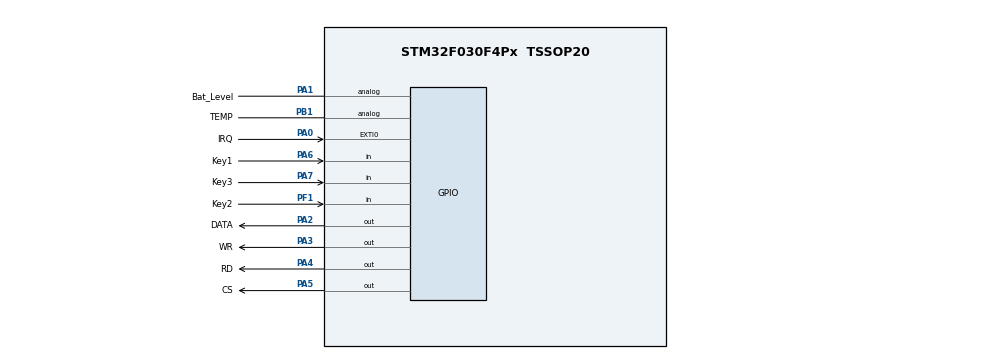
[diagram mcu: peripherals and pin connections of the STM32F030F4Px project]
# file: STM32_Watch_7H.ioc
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Mcu.Family=STM32F0
Mcu.Name=STM32F030F4Px
Mcu.Package=TSSOP20
NVIC.EXTI0_1_IRQn=true\:0\:0\:false\:false\:true\:true\:true\:true
NVIC.TIM1_BRK_UP_TRG_COM_IRQn=true\:0\:0\:false\:false\:true\:true\:true\:true
PA0.GPIO_Label=IRQ
PA0.GPIO_PuPd=GPIO_PULLUP
PA0.Signal=GPXTI0
PA1.GPIO_Label=Bat_Level
PA1.Signal=GPIO_Analog
PA10.Signal=I2C1_SDA
PA13.Mode=Serial_Wire
PA13.Signal=SYS_SWDIO
PA14.Mode=Serial_Wire
PA14.Signal=SYS_SWCLK
PA2.GPIO_Label=DATA
PA2.GPIO_PuPd=GPIO_NOPULL
PA2.Signal=GPIO_Output
PA3.GPIO_Label=WR
PA3.GPIO_PuPd=GPIO_NOPULL
PA3.Signal=GPIO_Output
PA4.GPIO_Label=RD
PA4.GPIO_PuPd=GPIO_NOPULL
PA4.Signal=GPIO_Output
PA5.GPIO_Label=CS
PA5.GPIO_PuPd=GPIO_NOPULL
PA5.Signal=GPIO_Output
PA6.GPIO_Label=Key1
PA6.GPIO_PuPd=GPIO_PULLUP
PA6.Signal=GPIO_Input
PA7.GPIO_Label=Key3
PA7.GPIO_PuPd=GPIO_PULLUP
PA7.Signal=GPIO_Input
PA9.Signal=I2C1_SCL
PB1.GPIO_Label=TEMP
PB1.Signal=GPIO_Analog
PF1-OSC_OUT.GPIO_Label=Key2
PF1-OSC_OUT.GPIO_PuPd=GPIO_PULLUP
PF1-OSC_OUT.Signal=GPIO_Input
ProjectManager.HeapSize=0x200
ProjectManager.StackSize=0x400
ProjectManager.TargetToolchain=STM32CubeIDE
RCC.AHBCLKDivider=RCC_SYSCLK_DIV2
RCC.AHBFreq_Value=4000000
RCC.APB1CLKDivider=RCC_HCLK_DIV16
RCC.APB1Freq_Value=250000
RCC.APB1TimFreq_Value=500000
RCC.HCLKFreq_Value=4000000
RCC.PLLMUL=RCC_PLL_MUL5
RCC.SYSCLKFreq_VALUE=8000000
TIM1.AutoReloadPreload=TIM_AUTORELOAD_PRELOAD_ENABLE
TIM1.Period=9
TIM1.Prescaler=500
TIM1.TIM_MasterOutputTrigger=TIM_TRGO_UPDATE
VP_TIM1_VS_ClockSourceINT.Mode=Internal
board=custom

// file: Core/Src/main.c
/* USER CODE BEGIN Header */
/**
  ******************************************************************************
  * @file           : main.c
  * @brief          : Main program body
  ******************************************************************************
  * @attention
  *
  * <h2><center>&copy; Copyright (c) 2022 STMicroelectronics.
  * All rights reserved.</center></h2>
  *
  * This software component is licensed by ST under BSD 3-Clause license,
  * the "License"; You may not use this file except in compliance with the
  * License. You may obtain a copy of the License at:
  *                        opensource.org/licenses/BSD-3-Clause
  *
  ******************************************************************************
  */
/* USER CODE END Header */
#include "main.h"

/* USER CODE BEGIN Includes */
#include "display.h"
#include "global_vars.h"

//#define PCB_Rev_V1

/* USER CODE END Includes */

TIM_HandleTypeDef htim1;

void SystemClock_Config(void);
static void MX_GPIO_Init(void);
static void MX_TIM1_Init(void);
/* USER CODE BEGIN PFP */
static void Beep_Enable(int8_t duration);
static void Beep_Disable(void);
static void Time_Calculation(void);
static void Beep_Routine(void);
static void Keyboard_Routine(void);
static void Input_data(int8_t position);
/* USER CODE END PFP */

int main(void)
{

  /* MCU Configuration--------------------------------------------------------*/

  /* Reset of all peripherals, Initializes the Flash interface and the Systick. */
  HAL_Init();

  /* Configure the system clock */
  SystemClock_Config();

  /* USER CODE BEGIN SysInit */
  /* Stop SysTick & disable interrupt */
  SysTick->CTRL &= ~(SysTick_CTRL_ENABLE_Msk | SysTick_CTRL_TICKINT_Msk);
  /* USER CODE END SysInit */

  /* Initialize all configured peripherals */
  MX_GPIO_Init();
  MX_TIM1_Init();
  /* USER CODE BEGIN 2 */

  Delay(3);
  Send_command(BIAS_COM);
  Send_command(SYS_DIS);
#ifndef PCB_Rev_V1
  Send_command(XTAL_32K);
#endif
  Send_command(TONE_2K);
  Send_command(FREQ_1HZ);
  Send_command(WDT_DIS);
  Send_command(TIMER_DIS);
  Send_command(CLR_TIMER);
  Send_command(TIMER_EN);
  Send_command(IRQ_EN);

  Send_command(SYS_EN);
  Send_command(LCD_ON);

  HAL_TIM_Base_Start_IT(&htim1);

//  Clear_display();
  Display_Upd(TIME_MODE);
  Beep_Enable(8);
  flags |= (1<<TIME_MODE);

  /* USER CODE END 2 */

  /* Infinite loop */
  /* USER CODE BEGIN WHILE */
  while (1)
  {
	Go_To_Sleep();
	if((flags & (1<<IRQ_FLAG)))
	{
		flags &=~(1<<IRQ_FLAG);
		Time_Calculation();
	}
	if (flags & (1<<BEEP_SYNC))
	{
		flags &=~(1<<BEEP_SYNC);
		if (flags & (1<<BEEP_MODE))
		{
			Beep_Routine();
		}
	}
	if (flags & (1<<KEYB))
	{
		Keyboard_Routine();
	}
	if (flags & (1<<TIME_MODE))
	{
		if (flags & (1<<HALF_SEC))
		{
			flags &=~(1<<HALF_SEC);
			Send_data(DDOT|MASK_B);		// DDOT is hide
		}
		else if (flags & (1<<ONE_SEC))
		{
			flags &=~(1<<ONE_SEC);
			Send_data(DDOT|MASK_A);		// it shows DDOT
		}
	} // blink DDOT
	else if (flags & (1<<SETUP_MODE))
	{
		if(!(flags & (1<<EDIT_TIME)))
		{
			setup_tmr = SETUP_TMR;
			flags |= (1<<EDIT_TIME);
			Input_data(HOUR_L);
			Send_data(DDOT|MASK_A);		// it shows DDOT
		}
		if (flags & (1<<HALF_SEC))
		{
			flags &=~(1<<HALF_SEC);
			Hide_segment();
		}
		if(flags & (1<<ONE_SEC))
		{
			Show_segment();
			flags &=~(1<<ONE_SEC);
			setup_tmr--;
			if(!setup_tmr)
			{
				flags |=(1<<TIME_MODE);
				flags &= ~(1<<SETUP_MODE);
				flags &= ~(1<<EDIT_TIME);
				Display_Upd(TIME_MODE);
			}
		}
	}	//SETUP MODE loop
  }   //endless loop
}     // main

    /* USER CODE END WHILE */

    /* USER CODE BEGIN 3 */

void HAL_TIM_PeriodElapsedCallback(TIM_HandleTypeDef *htim)
{
    if (htim->Instance == TIM1)
    {
    	system_time++;
    	interrupt_cnt++;
    	if(interrupt_cnt == SEC_CNT)
    	{
    		interrupt_cnt = 0;
    		flags |=(1<<ONE_SEC);
    	}
    	else if(interrupt_cnt == HALF_SEC_CNT)
    	{
    		flags |=(1<<HALF_SEC);
    	}
       	flags |=(1<<BEEP_SYNC);
       	kbd_scan =
		(!HAL_GPIO_ReadPin(GPIOA, GPIO_PIN_6) << KEY1) |
		(!HAL_GPIO_ReadPin(GPIOA, GPIO_PIN_7) << KEY2) |
	    (!HAL_GPIO_ReadPin(GPIOF, GPIO_PIN_1) << KEY3);
       	if (kbd_scan != 0)
       	{
       		if (!(flags & (1<<BEEP_MODE)))
       		{
           		Beep_Enable(3);
       		}
       		else
       		{
       			beep_duration++;
       		}
       		flags |=(1<<KEYB);
       	}
    }
};

void Go_To_Sleep(void)
{
//    HAL_SuspendTick();                     // Stop SysTick if not needed for wake-up
    SCB->SCR &= ~SCB_SCR_SLEEPDEEP_Msk;     // Select SLEEP mode (not deep sleep)
    __WFI();                                // Wait For Interrupt
//    HAL_ResumeTick();                       // Resume SysTick after wake-up
};

void Beep_Enable(int8_t duration)
{
	beep_duration = duration;
	Send_command(TONE_ON);
	flags |=(1<<BEEP_MODE);
};

void Beep_Disable(void)
{
	flags &=~(1<<BEEP_MODE);
	Send_command(TONE_OFF);
};

void Time_Calculation(void)
{
	second++;
	if (second == SECOND_LIMIT)
	{
		second = 0;
		minute++;
		if (minute == MINUTE_LIMIT)
		{
			minute = 0;
			hour++;
			if ((hour>=8) & (hour<22))
			{
				Beep_Enable(7);
			}
			if (hour == HOUR_LIMIT)
			{
				hour = 0;
			}
		}
		Display_Upd(TIME_MODE);
	}
	if (!(flags & (1<<SETUP_MODE)))		// do not switch to TEMP MODe if SETUP mode is active
	{
		if (second == 45)
		{
			Send_data(DDOT|MASK_B);		// Hide DOTS
			flags |=(1<<TEMP_MODE);
			flags &=~(1<<TIME_MODE);
			Display_Upd(TEMP_MODE);
		}
		else if (second == 55)
		{
			flags &=~(1<<TEMP_MODE);
			flags |=(1<<TIME_MODE);
			Display_Upd(TIME_MODE);
		}
	}
};

void Beep_Routine(void)
{
	beep_duration--;
	if(!beep_duration)
	{
		Beep_Disable();
	}
};

void Keyboard_Routine(void)
{
   	flags &=~(1<<KEYB);
   	flags |= (1<<SETUP_MODE);
	flags &=~(1<<TIME_MODE);
   	if(flags & (1<<TEMP_MODE))
   	{
		flags &=~(1<<TEMP_MODE);
		Display_Upd(TIME_MODE);
   	}
};

static void Input_data(int8_t position)
{
	input_position = position;
  /* USER CODE END 3 */
}

void SystemClock_Config(void)
{
  LL_FLASH_SetLatency(LL_FLASH_LATENCY_0);
  while(LL_FLASH_GetLatency() != LL_FLASH_LATENCY_0)
  {
  }
  LL_RCC_HSI_Enable();

   /* Wait till HSI is ready */
  while(LL_RCC_HSI_IsReady() != 1)
  {

  }
  LL_RCC_HSI_SetCalibTrimming(16);
  LL_RCC_SetAHBPrescaler(LL_RCC_SYSCLK_DIV_2);
  LL_RCC_SetAPB1Prescaler(LL_RCC_APB1_DIV_16);
  LL_RCC_SetSysClkSource(LL_RCC_SYS_CLKSOURCE_HSI);

   /* Wait till System clock is ready */
  while(LL_RCC_GetSysClkSource() != LL_RCC_SYS_CLKSOURCE_STATUS_HSI)
  {

  }
  LL_SetSystemCoreClock(4000000);

   /* Update the time base */
  if (HAL_InitTick (TICK_INT_PRIORITY) != HAL_OK)
  {
    Error_Handler();
  }
}

static void MX_TIM1_Init(void)
{

  TIM_ClockConfigTypeDef sClockSourceConfig = {0};
  TIM_MasterConfigTypeDef sMasterConfig = {0};

  htim1.Instance = TIM1;
  htim1.Init.Prescaler = 500;
  htim1.Init.CounterMode = TIM_COUNTERMODE_UP;
  htim1.Init.Period = 9;
  htim1.Init.ClockDivision = TIM_CLOCKDIVISION_DIV1;
  htim1.Init.RepetitionCounter = 0;
  htim1.Init.AutoReloadPreload = TIM_AUTORELOAD_PRELOAD_ENABLE;
  if (HAL_TIM_Base_Init(&htim1) != HAL_OK)
  {
    Error_Handler();
  }
  sClockSourceConfig.ClockSource = TIM_CLOCKSOURCE_INTERNAL;
  if (HAL_TIM_ConfigClockSource(&htim1, &sClockSourceConfig) != HAL_OK)
  {
    Error_Handler();
  }
  sMasterConfig.MasterOutputTrigger = TIM_TRGO_UPDATE;
  sMasterConfig.MasterSlaveMode = TIM_MASTERSLAVEMODE_DISABLE;
  if (HAL_TIMEx_MasterConfigSynchronization(&htim1, &sMasterConfig) != HAL_OK)
  {
    Error_Handler();
  }

}

static void MX_GPIO_Init(void)
{
  LL_EXTI_InitTypeDef EXTI_InitStruct = {0};
  LL_GPIO_InitTypeDef GPIO_InitStruct = {0};

  /* GPIO Ports Clock Enable */
  LL_AHB1_GRP1_EnableClock(LL_AHB1_GRP1_PERIPH_GPIOF);
  LL_AHB1_GRP1_EnableClock(LL_AHB1_GRP1_PERIPH_GPIOA);
  LL_AHB1_GRP1_EnableClock(LL_AHB1_GRP1_PERIPH_GPIOB);

  /**/
  LL_GPIO_ResetOutputPin(DATA_GPIO_Port, DATA_Pin);

  /**/
  LL_GPIO_ResetOutputPin(WR_GPIO_Port, WR_Pin);

  /**/
  LL_GPIO_ResetOutputPin(RD_GPIO_Port, RD_Pin);

  /**/
  LL_GPIO_ResetOutputPin(CS_GPIO_Port, CS_Pin);

  /**/
  GPIO_InitStruct.Pin = Key2_Pin;
  GPIO_InitStruct.Mode = LL_GPIO_MODE_INPUT;
  GPIO_InitStruct.Pull = LL_GPIO_PULL_UP;
  LL_GPIO_Init(Key2_GPIO_Port, &GPIO_InitStruct);

  /**/
  GPIO_InitStruct.Pin = Bat_Level_Pin;
  GPIO_InitStruct.Mode = LL_GPIO_MODE_ANALOG;
  GPIO_InitStruct.Pull = LL_GPIO_PULL_NO;
  LL_GPIO_Init(Bat_Level_GPIO_Port, &GPIO_InitStruct);

  /**/
  GPIO_InitStruct.Pin = DATA_Pin;
  GPIO_InitStruct.Mode = LL_GPIO_MODE_OUTPUT;
  GPIO_InitStruct.Speed = LL_GPIO_SPEED_FREQ_LOW;
  GPIO_InitStruct.OutputType = LL_GPIO_OUTPUT_PUSHPULL;
  GPIO_InitStruct.Pull = LL_GPIO_PULL_NO;
  LL_GPIO_Init(DATA_GPIO_Port, &GPIO_InitStruct);

  /**/
  GPIO_InitStruct.Pin = WR_Pin;
  GPIO_InitStruct.Mode = LL_GPIO_MODE_OUTPUT;
  GPIO_InitStruct.Speed = LL_GPIO_SPEED_FREQ_LOW;
  GPIO_InitStruct.OutputType = LL_GPIO_OUTPUT_PUSHPULL;
  GPIO_InitStruct.Pull = LL_GPIO_PULL_NO;
  LL_GPIO_Init(WR_GPIO_Port, &GPIO_InitStruct);

  /**/
  GPIO_InitStruct.Pin = RD_Pin;
  GPIO_InitStruct.Mode = LL_GPIO_MODE_OUTPUT;
  GPIO_InitStruct.Speed = LL_GPIO_SPEED_FREQ_LOW;
  GPIO_InitStruct.OutputType = LL_GPIO_OUTPUT_PUSHPULL;
  GPIO_InitStruct.Pull = LL_GPIO_PULL_NO;
  LL_GPIO_Init(RD_GPIO_Port, &GPIO_InitStruct);

  /**/
  GPIO_InitStruct.Pin = CS_Pin;
  GPIO_InitStruct.Mode = LL_GPIO_MODE_OUTPUT;
  GPIO_InitStruct.Speed = LL_GPIO_SPEED_FREQ_LOW;
  GPIO_InitStruct.OutputType = LL_GPIO_OUTPUT_PUSHPULL;
  GPIO_InitStruct.Pull = LL_GPIO_PULL_NO;
  LL_GPIO_Init(CS_GPIO_Port, &GPIO_InitStruct);

  /**/
  GPIO_InitStruct.Pin = Key1_Pin;
  GPIO_InitStruct.Mode = LL_GPIO_MODE_INPUT;
  GPIO_InitStruct.Pull = LL_GPIO_PULL_UP;
  LL_GPIO_Init(Key1_GPIO_Port, &GPIO_InitStruct);

  /**/
  GPIO_InitStruct.Pin = Key3_Pin;
  GPIO_InitStruct.Mode = LL_GPIO_MODE_INPUT;
  GPIO_InitStruct.Pull = LL_GPIO_PULL_UP;
  LL_GPIO_Init(Key3_GPIO_Port, &GPIO_InitStruct);

  /**/
  GPIO_InitStruct.Pin = TEMP_Pin;
  GPIO_InitStruct.Mode = LL_GPIO_MODE_ANALOG;
  GPIO_InitStruct.Pull = LL_GPIO_PULL_NO;
  LL_GPIO_Init(TEMP_GPIO_Port, &GPIO_InitStruct);

  /**/
  GPIO_InitStruct.Pin = LL_GPIO_PIN_9;
  GPIO_InitStruct.Mode = LL_GPIO_MODE_ALTERNATE;
  GPIO_InitStruct.Speed = LL_GPIO_SPEED_FREQ_HIGH;
  GPIO_InitStruct.OutputType = LL_GPIO_OUTPUT_OPENDRAIN;
  GPIO_InitStruct.Pull = LL_GPIO_PULL_NO;
  GPIO_InitStruct.Alternate = LL_GPIO_AF_4;
  LL_GPIO_Init(GPIOA, &GPIO_InitStruct);

  /**/
  GPIO_InitStruct.Pin = LL_GPIO_PIN_10;
  GPIO_InitStruct.Mode = LL_GPIO_MODE_ALTERNATE;
  GPIO_InitStruct.Speed = LL_GPIO_SPEED_FREQ_HIGH;
  GPIO_InitStruct.OutputType = LL_GPIO_OUTPUT_OPENDRAIN;
  GPIO_InitStruct.Pull = LL_GPIO_PULL_NO;
  GPIO_InitStruct.Alternate = LL_GPIO_AF_4;
  LL_GPIO_Init(GPIOA, &GPIO_InitStruct);

  /**/
  LL_SYSCFG_SetEXTISource(LL_SYSCFG_EXTI_PORTA, LL_SYSCFG_EXTI_LINE0);

  /**/
  LL_GPIO_SetPinPull(IRQ_GPIO_Port, IRQ_Pin, LL_GPIO_PULL_UP);

  /**/
  LL_GPIO_SetPinMode(IRQ_GPIO_Port, IRQ_Pin, LL_GPIO_MODE_INPUT);

  /**/
  EXTI_InitStruct.Line_0_31 = LL_EXTI_LINE_0;
  EXTI_InitStruct.LineCommand = ENABLE;
  EXTI_InitStruct.Mode = LL_EXTI_MODE_IT;
  EXTI_InitStruct.Trigger = LL_EXTI_TRIGGER_RISING;
  LL_EXTI_Init(&EXTI_InitStruct);

  /* EXTI interrupt init*/
  NVIC_SetPriority(EXTI0_1_IRQn, 0);
  NVIC_EnableIRQ(EXTI0_1_IRQn);

}

/* USER CODE BEGIN 4 */
//void go_to_stop_mode(void)
//{
//    HAL_SuspendTick();
//    HAL_PWR_EnterSTOPMode(PWR_LOWPOWERREGULATOR_ON, PWR_STOPENTRY_WFI);
//    HAL_ResumeTick();
//}
/* USER CODE END 4 */

void Error_Handler(void)
{
}
